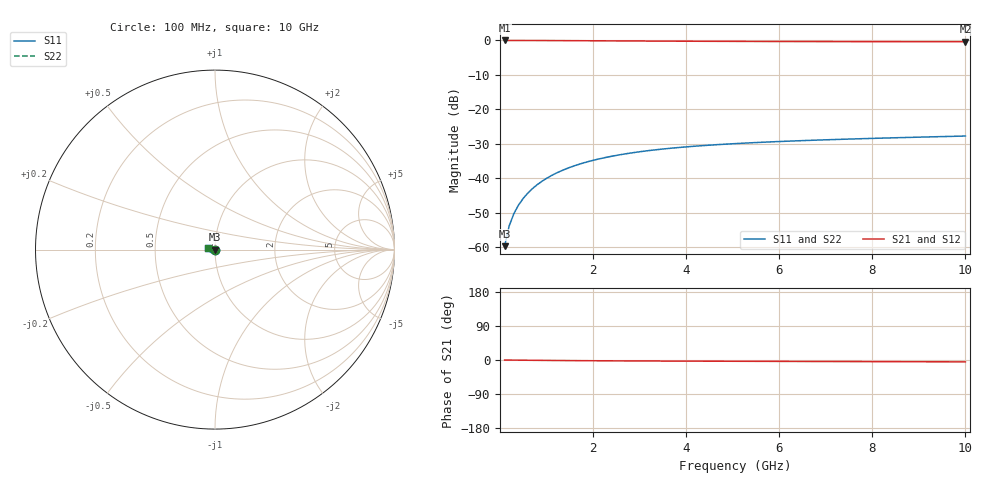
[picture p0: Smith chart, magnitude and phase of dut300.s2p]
! Touchstone file exported from HFSS 2024.1.0
!  File:  C:/UserFiles/LocalFiles/RDL_TSV_Batchsim/temp_TSV1_300_1779614775.aedt
!  Generated:  05:34:03 PM May 24, 2026
!  Design:  TSV1
!  Project:  temp_TSV1_300_1779614775
!  Setup:  Setup1
!  Solution:  Sweep
! Variables:
!  dtsv = 9.12um
!  hbump = 3um
!  htsv = 75.57um
!  lrdl = 252.1521522um
!  p = 40
!  p1 = 50.48um
!  t = 500um
!  trdl = 3um
!  wrdl = 24.89489489um
# GHz S MA R 50.000000
! Terminal data exported
! Port[1] = TSV22_T1
! Port[2] = TSV22_T2
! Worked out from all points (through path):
!   100 points, 100 MHz to 10 GHz, reference 50 ohm
!   highest |S21| = 0.00 dB at 100 MHz (marker M1); lowest = -0.4 dB at 10 GHz (marker M2)
!   lowest |S11| = -59.7 dB at 100 MHz (marker M3), VSWR 1.00, Z = 50 - j0.103 ohm
!   |S11| at or under -10 dB: start of sweep to end of sweep
!   |S22| runs from -59.7 to -27.7 dB; largest |S21 - S12| = 2.1e-15
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0.1  0.001036 -82.5  0.9998 -0.1  0.9998 -0.1  0.001036 -82.5
! Gamma 0 0 0 0
! Port Impedance 50 0 50 0
0.2  0.002056 -88.8  0.9997 -0.2  0.9997 -0.2  0.002056 -88.8
0.3  0.00308 -92.2  0.9995 -0.3  0.9995 -0.3  0.00308 -92.2
0.4  0.004101 -94.9  0.9992 -0.5  0.9992 -0.5  0.004101 -94.9
0.5  0.005113 -97.3  0.9989 -0.6  0.9989 -0.6  0.005113 -97.3
0.6  0.006115 -99.5  0.9986 -0.7  0.9986 -0.7  0.006115 -99.5
0.7  0.007104 -101.5  0.9981 -0.8  0.9981 -0.8  0.007104 -101.5
0.8  0.008079 -103.5  0.9977 -0.9  0.9977 -0.9  0.008079 -103.5
0.9  0.009037 -105.5  0.9971 -1.0  0.9971 -1.0  0.009037 -105.5
1.1  0.0109 -109.3  0.9959 -1.2  0.9959 -1.2  0.0109 -109.3
1.4  0.01354 -114.6  0.9939 -1.5  0.9939 -1.5  0.01354 -114.6
1.6  0.01519 -118.0  0.9924 -1.6  0.9924 -1.6  0.01519 -118.0
1.8  0.01675 -121.3  0.9908 -1.8  0.9908 -1.8  0.01675 -121.3
2.1  0.01892 -126.0  0.9884 -2.0  0.9884 -2.0  0.01892 -126.0
2.5  0.0215 -131.8  0.9852 -2.3  0.9852 -2.3  0.0215 -131.8
2.9  0.02375 -137.1  0.9821 -2.5  0.9821 -2.5  0.02375 -137.1
3.4  0.02616 -143.1  0.9785 -2.7  0.9785 -2.7  0.02616 -143.1
4.2  0.02927 -151.6  0.9736 -3.1  0.9736 -3.1  0.02927 -151.6
5.1  0.03199 -159.7  0.9692 -3.4  0.9692 -3.4  0.03199 -159.7
6.7  0.03561 -171.6  0.9635 -3.9  0.9635 -3.9  0.03561 -171.6
8.4  0.03859 178.3  0.9596 -4.4  0.9596 -4.4  0.03859 178.3
10  0.04104 170.4  0.957 -4.9  0.957 -4.9  0.04104 170.4
